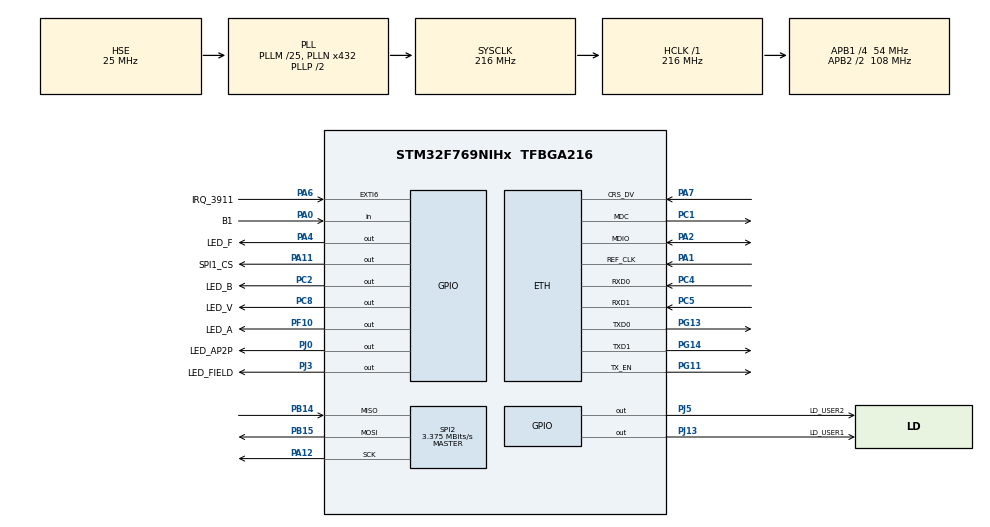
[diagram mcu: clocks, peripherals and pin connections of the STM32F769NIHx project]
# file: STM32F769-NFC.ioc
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ADC1.Channel-0\#ChannelRegularConversion=ADC_CHANNEL_TEMPSENSOR
ADC1.NbrOfConversionFlag=1
ADC1.Rank-0\#ChannelRegularConversion=1
ADC1.SamplingTime-0\#ChannelRegularConversion=ADC_SAMPLETIME_3CYCLES
ADC1.master=1
CORTEX_M7.ART_ACCLERATOR_ENABLE=1
CORTEX_M7.CPU_DCache=Enabled
CORTEX_M7.CPU_ICache=Enabled
CORTEX_M7.PREFETCH_ENABLE=1
ETH.MediaInterface=ETH_MEDIA_INTERFACE_RMII
ETH.PhyAddress=0
ETH.RxMode=ETH_RXINTERRUPT_MODE
FREERTOS.INCLUDE_vTaskCleanUpResources=0
FREERTOS.Mutexes01=lv_mutex,Dynamic,NULL;nfc_mutex,Dynamic,NULL
FREERTOS.Tasks01=lv_task,24,8196,lv_task_start,Default,NULL,Dynamic,NULL,NULL;nfc_task,8,1024,nfc_task_start,Default,NULL,Dynamic,NULL,NULL
FREERTOS.configCHECK_FOR_STACK_OVERFLOW=1
FREERTOS.configTOTAL_HEAP_SIZE=130000
FREERTOS.configUSE_IDLE_HOOK=1
FREERTOS.configUSE_MALLOC_FAILED_HOOK=1
FREERTOS.configUSE_TICK_HOOK=1
FREERTOS.copyHeapFile=1
LWIP.IP_ADDRESS=192.168.001.020
LWIP.LWIP_DHCP=0
LWIP.NETMASK_ADDRESS=255.255.255.000
LWIP.Version=v2.1.2_Cube
Mcu.Family=STM32F7
Mcu.Name=STM32F769NIHx
Mcu.Package=TFBGA216
NVIC.ETH_IRQn=true\:5\:0\:false\:false\:true\:true\:false\:true
NVIC.EXTI9_5_IRQn=true\:5\:0\:false\:false\:true\:true\:true\:true
NVIC.PriorityGroup=NVIC_PRIORITYGROUP_4
NVIC.TIM6_DAC_IRQn=true\:0\:0\:false\:false\:true\:false\:false\:true
NVIC.TimeBase=TIM6_DAC_IRQn
NVIC.TimeBaseIP=TIM6
PA0/WKUP.GPIO_Label=B1
PA0/WKUP.Signal=GPIO_Input
PA1.Mode=RMII
PA1.Signal=ETH_REF_CLK
PA11.GPIO_Label=SPI1_CS
PA11.Signal=GPIO_Output
PA12.Mode=Full_Duplex_Master
PA12.Signal=SPI2_SCK
PA13.Mode=Serial_Wire
PA13.Signal=SYS_JTMS-SWDIO
PA14.Mode=Serial_Wire
PA14.Signal=SYS_JTCK-SWCLK
PA2.Mode=RMII
PA2.Signal=ETH_MDIO
PA4.GPIO_Label=LED_F
PA4.Signal=GPIO_Output
PA6.GPIO_Label=IRQ_3911
PA6.GPIO_PuPd=GPIO_NOPULL
PA6.Signal=GPXTI6
PA7.Mode=RMII
PA7.Signal=ETH_CRS_DV
PB14.Mode=Full_Duplex_Master
PB14.Signal=SPI2_MISO
PB15.Mode=Full_Duplex_Master
PB15.Signal=SPI2_MOSI
PC1.Mode=RMII
PC1.Signal=ETH_MDC
PC14/OSC32_IN.Mode=LSE-External-Oscillator
PC14/OSC32_IN.Signal=RCC_OSC32_IN
PC15/OSC32_OUT.Mode=LSE-External-Oscillator
PC15/OSC32_OUT.Signal=RCC_OSC32_OUT
PC2.GPIO_Label=LED_B
PC2.Signal=GPIO_Output
PC4.Mode=RMII
PC4.Signal=ETH_RXD0
PC5.Mode=RMII
PC5.Signal=ETH_RXD1
PC8.GPIO_Label=LED_V
PC8.Signal=GPIO_Output
PF10.GPIO_Label=LED_A
PF10.Signal=GPIO_Output
PG11.Mode=RMII
PG11.Signal=ETH_TX_EN
PG13.Mode=RMII
PG13.Signal=ETH_TXD0
PG14.Mode=RMII
PG14.Signal=ETH_TXD1
PH0/OSC_IN.Mode=HSE-External-Oscillator
PH0/OSC_IN.Signal=RCC_OSC_IN
PH1/OSC_OUT.Mode=HSE-External-Oscillator
PH1/OSC_OUT.Signal=RCC_OSC_OUT
PJ0.GPIO_Label=LED_AP2P
PJ0.Signal=GPIO_Output
PJ13.GPIO_Label=LD_USER1
PJ13.Signal=GPIO_Output
PJ3.GPIO_Label=LED_FIELD
PJ3.Signal=GPIO_Output
PJ5.GPIO_Label=LD_USER2
PJ5.Signal=GPIO_Output
ProjectManager.HeapSize=0x2000
ProjectManager.StackSize=0x4000
ProjectManager.TargetToolchain=STM32CubeIDE
RCC.AHBFreq_Value=216000000
RCC.APB1CLKDivider=RCC_HCLK_DIV4
RCC.APB1Freq_Value=54000000
RCC.APB1TimFreq_Value=108000000
RCC.APB2CLKDivider=RCC_HCLK_DIV2
RCC.APB2Freq_Value=108000000
RCC.APB2TimFreq_Value=216000000
RCC.CortexFreq_Value=216000000
RCC.HCLKFreq_Value=216000000
RCC.HSE_VALUE=25000000
RCC.HSI_VALUE=16000000
RCC.PLLM=25
RCC.PLLN=432
RCC.PLLSourceVirtual=RCC_PLLSOURCE_HSE
RCC.SYSCLKFreq_VALUE=216000000
RCC.SYSCLKSource=RCC_SYSCLKSOURCE_PLLCLK
RCC.USBFreq_Value=216000000
RCC.VCOOutputFreq_Value=432000000
SPI2.BaudRatePrescaler=SPI_BAUDRATEPRESCALER_16
SPI2.CLKPhase=SPI_PHASE_2EDGE
SPI2.CRCCalculation=SPI_CRCCALCULATION_DISABLE
SPI2.CalculateBaudRate=3.375 MBits/s
SPI2.DataSize=SPI_DATASIZE_8BIT
SPI2.Direction=SPI_DIRECTION_2LINES
SPI2.Mode=SPI_MODE_MASTER
SPI2.VirtualType=VM_MASTER
VP_ADC1_TempSens_Input.Mode=IN-TempSens
VP_FREERTOS_VS_CMSIS_V2.Mode=CMSIS_V2
VP_LWIP_VS_Enabled.Mode=Enabled
VP_SYS_VS_tim6.Mode=TIM6
board=STM32F769I-DISCO

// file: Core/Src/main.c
/* USER CODE BEGIN Header */
/**
 ******************************************************************************
 * @file           : main.c
 * @brief          : Main program body
 ******************************************************************************
 * @attention
 *
 * <h2><center>&copy; Copyright (c) 2019 STMicroelectronics.
 * All rights reserved.</center></h2>
 *
 * This software component is licensed by ST under BSD 3-Clause license,
 * the "License"; You may not use this file except in compliance with the
 * License. You may obtain a copy of the License at:
 *                        opensource.org/licenses/BSD-3-Clause
 *
 ******************************************************************************
 */
/* USER CODE END Header */

#include "main.h"
#include "cmsis_os.h"
#include "adc.h"
#include "lwip.h"
#include "spi.h"
#include "gpio.h"

/* USER CODE BEGIN PV */
/* Private variables ---------------------------------------------------------*/
uint8_t globalCommProtectCnt = 0;

/* USER CODE END PV */

void SystemClock_Config(void);
void MX_FREERTOS_Init(void);

int main(void)
{

  /* Enable I-Cache---------------------------------------------------------*/
  SCB_EnableICache();

  /* Enable D-Cache---------------------------------------------------------*/
  SCB_EnableDCache();

  /* MCU Configuration--------------------------------------------------------*/

  /* Reset of all peripherals, Initializes the Flash interface and the Systick. */
  HAL_Init();

  /* USER CODE BEGIN Init */
  NVIC_SetPriorityGrouping(NVIC_PRIORITYGROUP_4);

  /* USER CODE END Init */

  /* Configure the system clock */
  SystemClock_Config();

  /* Initialize all configured peripherals */
  MX_GPIO_Init();
  MX_SPI2_Init();
  MX_ADC1_Init();

  /* Init scheduler */
  osKernelInitialize();  /* Call init function for freertos objects (in freertos.c) */
  MX_FREERTOS_Init();
  /* Start scheduler */
  osKernelStart();

  /* We should never get here as control is now taken by the scheduler */
  /* Infinite loop */
  while (1)
  {

  }
}

void SystemClock_Config(void)
{
  RCC_OscInitTypeDef RCC_OscInitStruct = {0};
  RCC_ClkInitTypeDef RCC_ClkInitStruct = {0};

  /** Configure LSE Drive Capability
  */
  HAL_PWR_EnableBkUpAccess();
  /** Configure the main internal regulator output voltage
  */
  __HAL_RCC_PWR_CLK_ENABLE();
  __HAL_PWR_VOLTAGESCALING_CONFIG(PWR_REGULATOR_VOLTAGE_SCALE1);
  /** Initializes the CPU, AHB and APB busses clocks
  */
  RCC_OscInitStruct.OscillatorType = RCC_OSCILLATORTYPE_HSE;
  RCC_OscInitStruct.HSEState = RCC_HSE_ON;
  RCC_OscInitStruct.PLL.PLLState = RCC_PLL_ON;
  RCC_OscInitStruct.PLL.PLLSource = RCC_PLLSOURCE_HSE;
  RCC_OscInitStruct.PLL.PLLM = 25;
  RCC_OscInitStruct.PLL.PLLN = 432;
  RCC_OscInitStruct.PLL.PLLP = RCC_PLLP_DIV2;
  RCC_OscInitStruct.PLL.PLLQ = 2;
  if (HAL_RCC_OscConfig(&RCC_OscInitStruct) != HAL_OK)
  {
    Error_Handler();
  }
  /** Activate the Over-Drive mode
  */
  if (HAL_PWREx_EnableOverDrive() != HAL_OK)
  {
    Error_Handler();
  }
  /** Initializes the CPU, AHB and APB busses clocks
  */
  RCC_ClkInitStruct.ClockType = RCC_CLOCKTYPE_HCLK|RCC_CLOCKTYPE_SYSCLK
                              |RCC_CLOCKTYPE_PCLK1|RCC_CLOCKTYPE_PCLK2;
  RCC_ClkInitStruct.SYSCLKSource = RCC_SYSCLKSOURCE_PLLCLK;
  RCC_ClkInitStruct.AHBCLKDivider = RCC_SYSCLK_DIV1;
  RCC_ClkInitStruct.APB1CLKDivider = RCC_HCLK_DIV4;
  RCC_ClkInitStruct.APB2CLKDivider = RCC_HCLK_DIV2;

  if (HAL_RCC_ClockConfig(&RCC_ClkInitStruct, FLASH_LATENCY_7) != HAL_OK)
  {
    Error_Handler();
  }
}

 /**
  * @brief  Period elapsed callback in non blocking mode
  * @note   This function is called  when TIM6 interrupt took place, inside
  * HAL_TIM_IRQHandler(). It makes a direct call to HAL_IncTick() to increment
  * a global variable "uwTick" used as application time base.
  * @param  htim : TIM handle
  * @retval None
  */
void HAL_TIM_PeriodElapsedCallback(TIM_HandleTypeDef *htim)
{
  if (htim->Instance == TIM6) {
    HAL_IncTick();
  }
}

void Error_Handler(void)
{
}

/************************ (C) COPYRIGHT STMicroelectronics *****END OF FILE****/

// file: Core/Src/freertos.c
/* USER CODE BEGIN Header */
/**
  ******************************************************************************
  * File Name          : freertos.c
  * Description        : Code for freertos applications
  ******************************************************************************
  * @attention
  *
  * <h2><center>&copy; Copyright (c) 2020 STMicroelectronics.
  * All rights reserved.</center></h2>
  *
  * This software component is licensed by ST under Ultimate Liberty license
  * SLA0044, the "License"; You may not use this file except in compliance with
  * the License. You may obtain a copy of the License at:
  *                             www.st.com/SLA0044
  *
  ******************************************************************************
  */
/* USER CODE END Header */

#include "FreeRTOS.h"
#include "task.h"
#include "main.h"
#include "cmsis_os.h"

/* USER CODE BEGIN Includes */
#include "demo.h"
#include "platform.h"
#include "st_errno.h"
#include "stm32f7xx.h"
#include "stm32f769i_discovery.h"
#include "lvgl.h"
#include "lv_nfc.h"
#include "sysmon.h"
#include "../../Middlewares/hal_stm_lvgl/tft/tft.h"
#include "../../Middlewares/hal_stm_lvgl/touchpad/touchpad.h"
/* USER CODE END Includes */

/* Definitions for lv_task */
osThreadId_t lv_taskHandle;
const osThreadAttr_t lv_task_attributes = {
  .name = "lv_task",
  .priority = (osPriority_t) osPriorityNormal,
  .stack_size = 8196 * 4
};
/* Definitions for nfc_task */
osThreadId_t nfc_taskHandle;
const osThreadAttr_t nfc_task_attributes = {
  .name = "nfc_task",
  .priority = (osPriority_t) osPriorityLow,
  .stack_size = 1024 * 4
};
/* Definitions for lv_mutex */
osMutexId_t lv_mutexHandle;
const osMutexAttr_t lv_mutex_attributes = {
  .name = "lv_mutex"
};
/* Definitions for nfc_mutex */
osMutexId_t nfc_mutexHandle;
const osMutexAttr_t nfc_mutex_attributes = {
  .name = "nfc_mutex"
};

void lv_task_start(void *argument);
void nfc_task_start(void *argument);

extern void MX_LWIP_Init(void);
void MX_FREERTOS_Init(void); /* (MISRA C 2004 rule 8.1) */

/* Hook prototypes */
void vApplicationIdleHook(void);
void vApplicationTickHook(void);
void vApplicationStackOverflowHook(xTaskHandle xTask, signed char *pcTaskName);
void vApplicationMallocFailedHook(void);

/* USER CODE BEGIN 2 */
__weak void vApplicationIdleHook( void )
{
   /* vApplicationIdleHook() will only be called if configUSE_IDLE_HOOK is set
   to 1 in FreeRTOSConfig.h. It will be called on each iteration of the idle
   task. It is essential that code added to this hook function never attempts
   to block in any way (for example, call xQueueReceive() with a block time
   specified, or call vTaskDelay()). If the application makes use of the
   vTaskDelete() API function (as this demo application does) then it is also
   important that vApplicationIdleHook() is permitted to return to its calling
   function, because it is the responsibility of the idle task to clean up
   memory allocated by the kernel to any task that has since been deleted. */
}
/* USER CODE END 2 */

/* USER CODE BEGIN 3 */
__weak void vApplicationTickHook( void )
{
	/* This function will be called by each tick interrupt if
	 * configUSE_TICK_HOOK is set to 1 in FreeRTOSConfig.h. User code can be
	 * added here, but the tick hook is called from an interrupt context, so
	 * code must not attempt to block, and only the interrupt safe FreeRTOS API
	 * functions can be used (those that end in FromISR()). */
}

void HAL_Delay(volatile uint32_t millis)
{
	/* replace HAL library blocking delay function
	 * with FreeRTOS thread aware equivalent */
	vTaskDelay(millis);
}

/* USER CODE END 3 */

/* USER CODE BEGIN 4 */
__weak void vApplicationStackOverflowHook(xTaskHandle xTask, signed char *pcTaskName)
{
   /* Run time stack overflow checking is performed if
   configCHECK_FOR_STACK_OVERFLOW is defined to 1 or 2. This hook function is
   called if a stack overflow is detected. */
	  while(1){
		  HAL_Delay(500);
		  BSP_LED_Toggle(LED_RED);
	  }
}
/* USER CODE END 4 */

/* USER CODE BEGIN 5 */
__weak void vApplicationMallocFailedHook(void)
{
   /* vApplicationMallocFailedHook() will only be called if
   configUSE_MALLOC_FAILED_HOOK is set to 1 in FreeRTOSConfig.h. It is a hook
   function that will get called if a call to pvPortMalloc() fails.
   pvPortMalloc() is called internally by the kernel whenever a task, queue,
   timer or semaphore is created. It is also called by various parts of the
   demo application. If heap_1.c or heap_2.c are used, then the size of the
   heap available to pvPortMalloc() is defined by configTOTAL_HEAP_SIZE in
   FreeRTOSConfig.h, and the xPortGetFreeHeapSize() API function can be used
   to query the size of free heap space that remains (although it does not
   provide information on how the remaining heap might be fragmented). */
	  while(1){
		  HAL_Delay(1000);
		  BSP_LED_Toggle(LED_RED);
	  }
}
/* USER CODE END 5 */

void MX_FREERTOS_Init(void) {
  /* Create the mutex(es) */
  /* creation of lv_mutex */
  lv_mutexHandle = osMutexNew(&lv_mutex_attributes);

  /* creation of nfc_mutex */
  nfc_mutexHandle = osMutexNew(&nfc_mutex_attributes);

  /* Create the thread(s) */
  /* creation of lv_task */
  lv_taskHandle = osThreadNew(lv_task_start, NULL, &lv_task_attributes);

  /* creation of nfc_task */
  nfc_taskHandle = osThreadNew(nfc_task_start, NULL, &nfc_task_attributes);

}

void lv_task_start(void *argument)
{
  /* init code for LWIP */
  MX_LWIP_Init();
  /* USER CODE BEGIN lv_task_start */
  lv_init();
  tft_init();
  touchpad_init();
  nfc_create();

  /* Infinite loop */
  for(;;)
  {
	  lv_task_handler();
	  BSP_LED_Toggle(LED_RED);
	  osDelay(5);
  }
  /* USER CODE END lv_task_start */
}

void nfc_task_start(void *argument)
{
  /* USER CODE BEGIN nfc_task_start */
  /* Initialize RFAL */
  demoIni();
  /* Infinite loop */
  for(;;)
  {
	  demoCycle();
	  osDelay(10);
	  BSP_LED_Toggle(LED_GREEN);
  }
  /* USER CODE END nfc_task_start */
}

/************************ (C) COPYRIGHT STMicroelectronics *****END OF FILE****/
